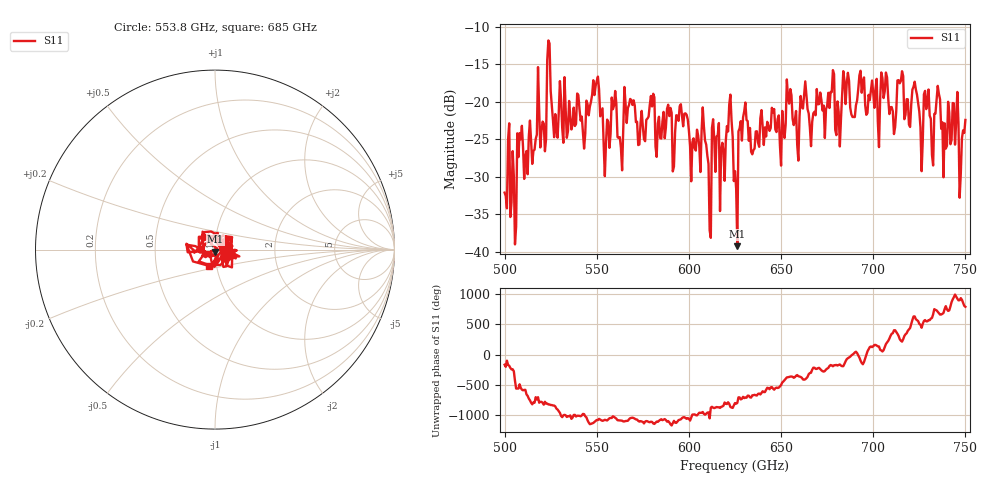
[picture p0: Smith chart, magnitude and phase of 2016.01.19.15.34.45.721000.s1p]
!Created with skrf (http://scikit-rf.org).
# GHz S RI R 50.0
!freq ReS11 ImS11
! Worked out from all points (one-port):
!   401 points, 500 GHz to 750 GHz, reference 50 ohm
!   lowest |S11| = -39.3 dB at 626.2 GHz (marker M1), VSWR 1.02, Z = 50.2 - j1.07 ohm
!   |S11| at or under -10 dB: start of sweep to end of sweep
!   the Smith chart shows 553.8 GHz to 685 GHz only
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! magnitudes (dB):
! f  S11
! 500 GHz  -32.1
! 503.1 GHz  -35.4
! 505 GHz  -29.9
! 508.1 GHz  -24.2
! 521.2 GHz  -22.9
! 524.4 GHz  -12.2
! 527.5 GHz  -21.6
! 531.2 GHz  -23.5
! 542.5 GHz  -24.0
! 549.4 GHz  -17.9
! 553.8 GHz  -25.7
! 559.4 GHz  -20.5
! 562.5 GHz  -24.7
! 568.8 GHz  -19.8
! 593.8 GHz  -21.9
! 608.1 GHz  -23.3
! 610.6 GHz  -28.3
! 621.9 GHz  -20.4
! 625 GHz  -29.3
! 626.2 GHz  -39.3
! 630.6 GHz  -20.1
! 635 GHz  -26.4
! 656.2 GHz  -22.3
! 687.5 GHz  -20.7
! 711.2 GHz  -24.3
! 715 GHz  -17.2
! 718.8 GHz  -19.7
! 750 GHz  -22.4
